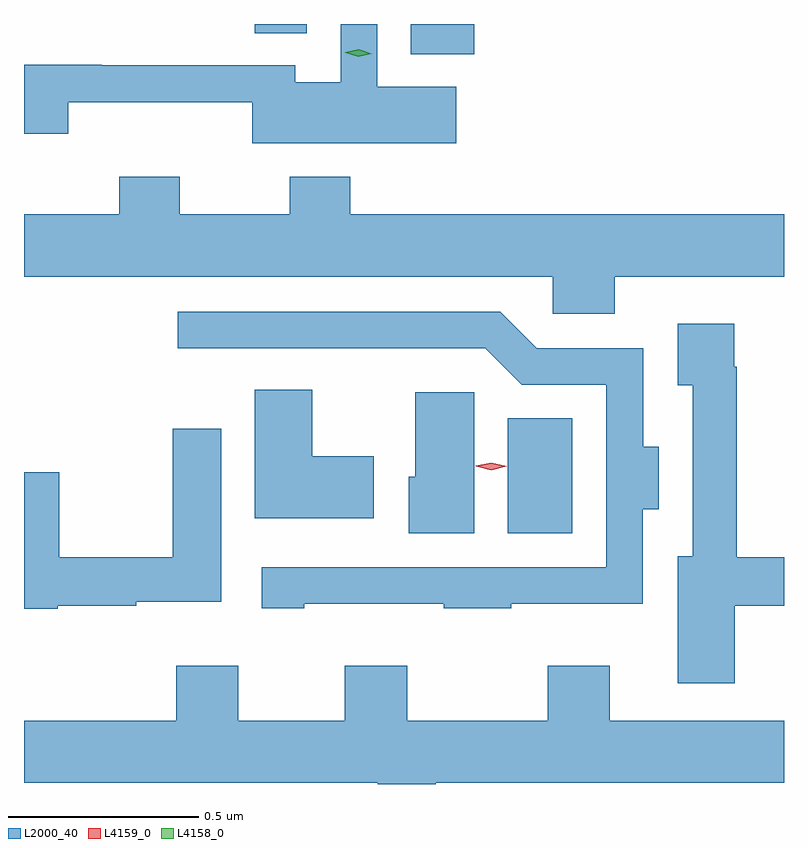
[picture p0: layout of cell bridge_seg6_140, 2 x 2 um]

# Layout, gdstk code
import gdstk
lib = gdstk.Library(unit=1e-6, precision=1e-09)
def R(c, l, rs):  # rectangles x0, y0, x1, y1
    for r in rs: c.add(gdstk.rectangle(r[:2], r[2:], *l))
def P(c, l, *ps):  # polygons
    for p in ps: c.add(gdstk.Polygon(p, *l))
L2000_40 = (2000, 40)
L4158_0 = (4158, 0)
L4159_0 = (4159, 0)

bridge_seg6_140 = lib.new_cell('bridge_seg6_140')
R(bridge_seg6_140, L2000_40, [(418.874,965.309,419.044,965.611), (418.619,966.569,418.786,966.649), (418.208,966.625,418.345,966.649)])
P(bridge_seg6_140, L2000_40, [(418.738,966.484),(418.53,966.484),(418.53,966.649),(418.434,966.649),(418.434,966.496),(418.315,966.496),(418.315,966.54),(417.805,966.54),(417.805,966.542),(417.601,966.542),(417.601,966.36),(417.717,966.36),(417.717,966.443),(418.202,966.443),(418.202,966.335),(418.738,966.335)],
  [(419.156,965.984),(419.601,965.984),(419.601,966.148),(418.46,966.148),(418.46,966.247),(418.3,966.247),(418.3,966.148),(418.011,966.148),(418.011,966.247),(417.851,966.247),(417.851,966.148),(417.601,966.148),(417.601,965.984),(418.992,965.984),(418.992,965.886),(419.156,965.886)],
  [(418.339,965.123),(418.705,965.123),(418.705,965.112),(418.883,965.112),(418.883,965.123),(419.229,965.123),(419.229,965.372),(419.272,965.372),(419.272,965.536),(419.23,965.536),(419.23,965.796),(418.95,965.796),(418.854,965.892),(418.005,965.892),(418.005,965.796),(418.815,965.796),(418.911,965.7),(419.133,965.7),(419.133,965.22),(418.227,965.22),(418.227,965.112),(418.339,965.112)],
  [(419.471,965.118),(419.601,965.118),(419.601,965.246),(419.477,965.246),(419.477,965.747),(419.47,965.747),(419.47,965.86),(419.321,965.86),(419.321,965.699),(419.361,965.699),(419.361,965.248),(419.321,965.248),(419.321,964.914),(419.471,964.914)],
  [(418.522,965.512),(418.36,965.512),(418.36,965.686),(418.208,965.686),(418.208,965.348),(418.522,965.348)],
  [(418.786,965.68),(418.631,965.68),(418.631,965.457),(418.613,965.457),(418.613,965.309),(418.786,965.309)],
  [(417.69,965.118),(417.896,965.118),(417.896,965.129),(418.12,965.129),(418.12,965.584),(417.992,965.584),(417.992,965.246),(417.694,965.246),(417.694,965.47),(417.601,965.47),(417.601,965.11),(417.69,965.11)],
  [(418.685,964.652),(419.601,964.652),(419.601,964.816),(419.143,964.816),(419.143,964.96),(418.979,964.96),(418.979,964.816),(418.609,964.816),(418.609,964.96),(418.445,964.96),(418.445,964.816),(418.165,964.816),(418.165,964.96),(418.001,964.96),(418.001,964.816),(417.601,964.816),(417.601,964.652),(418.532,964.652),(418.532,964.649),(418.685,964.649)])
P(bridge_seg6_140, L4158_0, [(418.481,966.563),(418.447,966.574),(418.447,966.574),(418.447,966.575),(418.482,966.583),(418.516,966.571),(418.516,966.571),(418.516,966.571)])
P(bridge_seg6_140, L4159_0, [(418.831,965.475),(418.79,965.485),(418.79,965.486),(418.79,965.486),(418.831,965.495),(418.871,965.485),(418.871,965.485),(418.871,965.485)])

lib.write_gds('bridge_seg6_140.gds')
